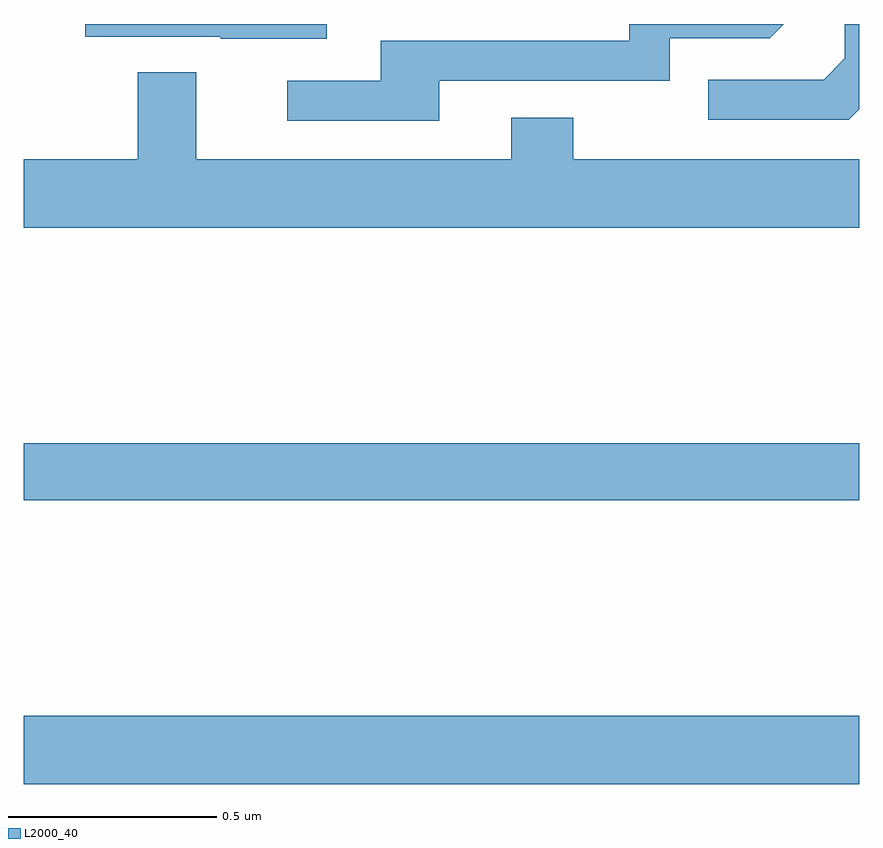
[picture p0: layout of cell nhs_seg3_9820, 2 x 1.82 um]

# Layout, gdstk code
import gdstk
lib = gdstk.Library(unit=1e-6, precision=1e-09)
def R(c, l, rs):  # rectangles x0, y0, x1, y1
    for r in rs: c.add(gdstk.rectangle(r[:2], r[2:], *l))
def P(c, l, *ps):  # polygons
    for p in ps: c.add(gdstk.Polygon(p, *l))
L2000_40 = (2000, 40)

nhs_seg3_9820 = lib.new_cell('nhs_seg3_9820')
R(nhs_seg3_9820, L2000_40, [(233,703.58,235,703.744), (233,704.26,235,704.396)])
P(nhs_seg3_9820, L2000_40, [(233.995,705.264),(234.546,705.264),(234.546,705.366),(234.786,705.366),(234.82,705.4),(234.45,705.4),(234.45,705.36),(233.855,705.36),(233.855,705.264),(233.631,705.264),(233.631,705.168),(233.995,705.168)],
  [(233.725,705.4),(233.147,705.4),(233.147,705.369),(233.471,705.369),(233.471,705.365),(233.725,705.365)],
  [(235,705.196),(235,705.4),(234.966,705.4),(234.966,705.318),(234.915,705.267),(234.639,705.267),(234.639,705.171),(234.975,705.171)],
  [(235,705.076),(234.315,705.076),(234.315,705.175),(234.167,705.175),(234.167,705.076),(233.413,705.076),(233.413,705.284),(233.273,705.284),(233.273,705.076),(233,705.076),(233,704.912),(235,704.912)])

lib.write_gds('nhs_seg3_9820.gds')
